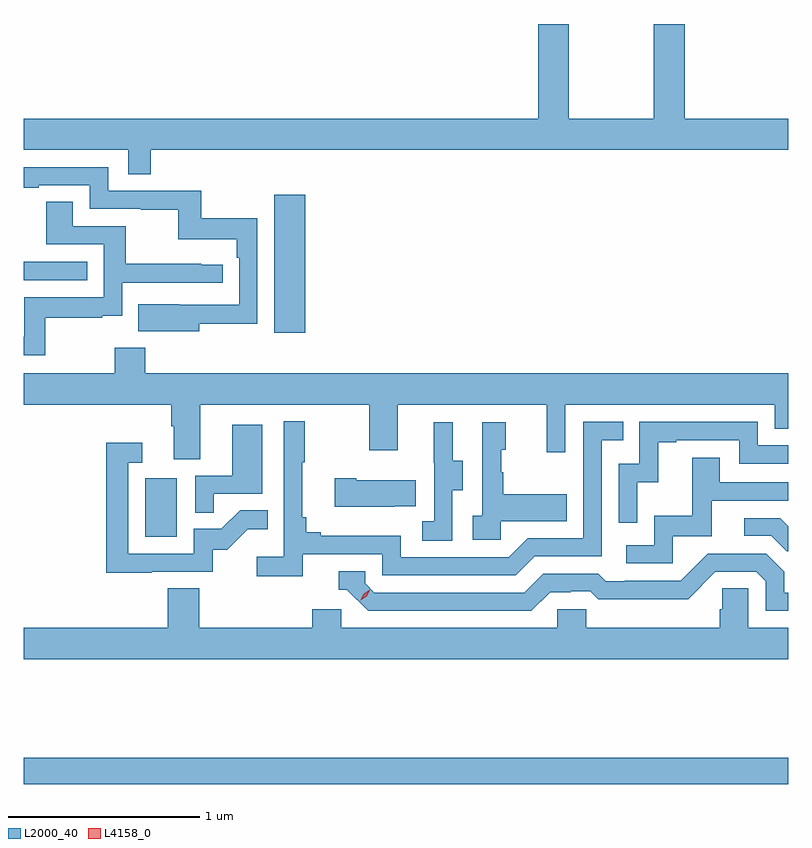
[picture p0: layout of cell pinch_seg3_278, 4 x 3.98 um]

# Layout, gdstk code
import gdstk
lib = gdstk.Library(unit=1e-6, precision=1e-09)
def R(c, l, rs):  # rectangles x0, y0, x1, y1
    for r in rs: c.add(gdstk.rectangle(r[:2], r[2:], *l))
def P(c, l, *ps):  # polygons
    for p in ps: c.add(gdstk.Polygon(p, *l))
L2000_40 = (2000, 40)
L4158_0 = (4158, 0)

pinch_seg3_278 = lib.new_cell('pinch_seg3_278')
R(pinch_seg3_278, L2000_40, [(937.465,713.584,941.465,713.72), (938.102,714.876,938.266,715.183), (938.777,715.944,938.938,716.665), (937.465,716.22,937.799,716.316)])
P(pinch_seg3_278, L2000_40, [(938.129,716.9),(941.465,716.9),(941.465,717.064),(940.922,717.064),(940.922,717.559),(940.762,717.559),(940.762,717.064),(940.317,717.064),(940.317,717.559),(940.157,717.559),(940.157,717.064),(937.465,717.064),(937.465,716.9),(938.013,716.9),(938.013,716.773),(938.129,716.773)],
  [(938.383,715.99),(938.688,715.99),(938.688,716.542),(938.395,716.542),(938.395,716.688),(937.908,716.688),(937.908,716.811),(937.465,716.811),(937.465,716.703),(937.543,716.703),(937.543,716.715),(937.812,716.715),(937.812,716.592),(938.077,716.592),(938.077,716.587),(938.274,716.587),(938.274,716.432),(938.579,716.432),(938.579,716.336),(938.592,716.336),(938.592,716.091),(938.279,716.091),(938.279,716.092),(938.065,716.092),(938.065,715.952),(938.383,715.952)],
  [(937.579,716.022),(937.877,716.022),(937.877,716.033),(937.98,716.033),(937.98,716.205),(938.506,716.205),(938.506,716.301),(938.393,716.301),(938.393,716.306),(938,716.306),(938,716.502),(937.723,716.502),(937.723,716.63),(937.583,716.63),(937.583,716.406),(937.884,716.406),(937.884,716.13),(937.468,716.13),(937.468,715.924),(937.465,715.924),(937.465,715.827),(937.579,715.827)],
  [(938.389,715.568),(939.274,715.568),(939.274,715.329),(939.421,715.329),(939.421,715.568),(940.202,715.568),(940.202,715.32),(940.299,715.32),(940.299,715.568),(941.394,715.568),(941.394,715.441),(941.465,715.441),(941.465,715.732),(938.102,715.732),(938.102,715.867),(937.942,715.867),(937.942,715.732),(937.465,715.732),(937.465,715.568),(938.237,715.568),(938.237,715.456),(938.249,715.456),(938.249,715.282),(938.389,715.282)],
  [(938.924,714.786),(939.342,714.786),(939.342,714.675),(940.039,714.675),(940.138,714.774),(940.488,714.774),(940.488,715.383),(940.601,715.383),(940.601,715.479),(940.392,715.479),(940.392,714.87),(940.101,714.87),(940.002,714.771),(939.438,714.771),(939.438,714.883),(939.019,714.883),(939.019,714.902),(938.942,714.902),(938.942,714.979),(938.923,714.979),(938.923,715.267),(938.935,715.267),(938.935,715.48),(938.826,715.48),(938.826,714.772),(938.685,714.772),(938.685,714.67),(938.924,714.67)],
  [(940.674,715.163),(940.784,715.163),(940.784,715.371),(940.879,715.371),(940.879,715.383),(941.208,715.383),(941.208,715.26),(941.465,715.26),(941.465,715.356),(941.304,715.356),(941.304,715.479),(940.686,715.479),(940.686,715.26),(940.578,715.26),(940.578,714.951),(940.674,714.951)],
  [(939.708,715.12),(939.763,715.12),(939.763,715.275),(939.709,715.275),(939.709,715.477),(939.611,715.477),(939.611,715.263),(939.612,715.263),(939.612,714.959),(939.549,714.959),(939.549,714.856),(939.708,714.856)],
  [(939.96,714.959),(940.307,714.959),(940.307,715.099),(939.973,715.099),(939.973,715.214),(939.963,715.214),(939.963,715.332),(939.988,715.332),(939.988,715.477),(939.864,715.477),(939.864,714.986),(939.813,714.986),(939.813,714.861),(939.96,714.861)],
  [(938.459,715.101),(938.713,715.101),(938.713,715.462),(938.555,715.462),(938.555,715.197),(938.364,715.197),(938.364,715.003),(938.459,715.003)],
  [(938.135,714.693),(938.454,714.693),(938.454,714.81),(938.53,714.81),(938.637,714.917),(938.741,714.917),(938.741,715.016),(938.597,715.016),(938.499,714.918),(938.355,714.918),(938.355,714.789),(938.013,714.789),(938.013,715.263),(938.086,715.263),(938.086,715.369),(937.897,715.369),(937.897,714.688),(938.135,714.688)],
  [(940.86,714.879),(941.065,714.879),(941.065,715.065),(941.465,715.065),(941.465,715.161),(941.107,715.161),(941.107,715.291),(940.963,715.291),(940.963,714.988),(940.764,714.988),(940.764,714.834),(940.617,714.834),(940.617,714.738),(940.86,714.738)],
  [(939.407,715.037),(939.515,715.037),(939.515,715.174),(939.205,715.174),(939.205,715.182),(939.093,715.182),(939.093,715.034),(939.407,715.034)],
  [(941.465,714.932),(941.422,714.975),(941.235,714.975),(941.235,714.882),(941.376,714.882),(941.456,714.802),(941.465,714.802)],
  [(940.219,714.588),(940.326,714.588),(940.326,714.591),(940.429,714.591),(940.471,714.549),(940.704,714.549),(940.704,714.551),(940.94,714.551),(941.082,714.693),(941.298,714.693),(941.346,714.645),(941.346,714.489),(941.465,714.489),(941.465,714.585),(941.443,714.585),(941.443,714.695),(941.349,714.789),(941.043,714.789),(940.902,714.648),(940.609,714.648),(940.609,714.645),(940.51,714.645),(940.471,714.684),(940.182,714.684),(940.083,714.585),(939.3,714.585),(939.252,714.633),(939.252,714.696),(939.113,714.696),(939.113,714.6),(939.156,714.6),(939.267,714.489),(940.12,714.489)],
  [(941.465,714.4),(941.256,714.4),(941.256,714.608),(941.119,714.608),(941.119,714.498),(941.105,714.498),(941.105,714.4),(940.407,714.4),(940.407,714.498),(940.257,714.498),(940.257,714.4),(939.126,714.4),(939.126,714.498),(938.975,714.498),(938.975,714.4),(938.384,714.4),(938.384,714.608),(938.219,714.608),(938.219,714.4),(937.465,714.4),(937.465,714.236),(941.465,714.236)])
P(pinch_seg3_278, L4158_0, [(939.229,714.546),(939.229,714.547),(939.244,714.58),(939.275,714.6),(939.275,714.6),(939.275,714.6),(939.26,714.567),(939.229,714.546)])

lib.write_gds('pinch_seg3_278.gds')
